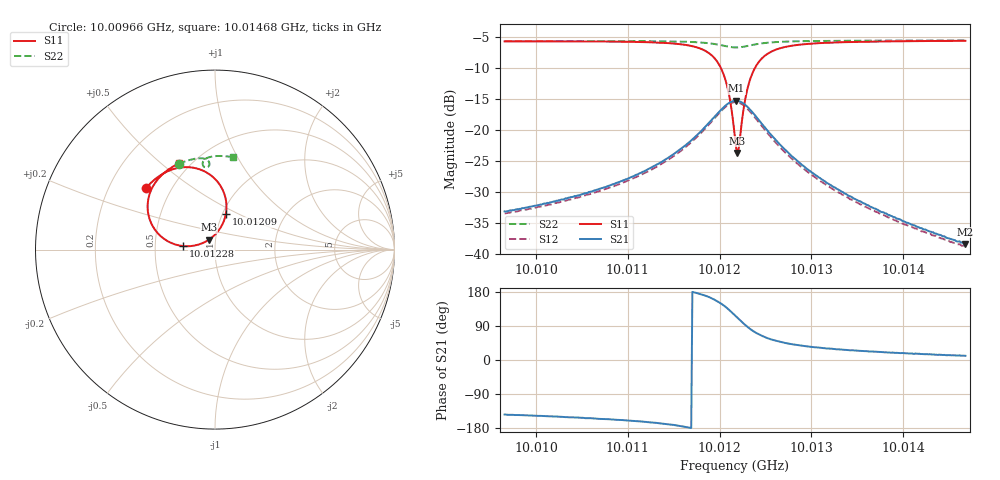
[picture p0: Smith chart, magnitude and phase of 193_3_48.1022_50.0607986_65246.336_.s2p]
#  HZ  S  RI  R  50.00
! Rohde & Schwarz Vector Network Analyzer
! Rohde-Schwarz,ZNB20-2Port,1311601062101988,3.16
! Created: UTC 12/23/2023, 3:54:00 AM
! freq[Hz]  re:S11  im:S11  re:S21  im:S21  re:S12  im:S12  re:S22  im:S22
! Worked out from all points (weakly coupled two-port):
!   401 points, 10.00966 GHz to 10.01468 GHz, reference 50 ohm
!   highest |S21| = -15.34 dB at 10.01218 GHz (marker M1); lowest = -38.4 dB at 10.01468 GHz (marker M2)
!   lowest |S11| = -23.8 dB at 10.01219 GHz (marker M3), VSWR 1.14, Z = 46.5 + j5.22 ohm
!   |S11| at or under -10 dB: 10.01201 GHz to 10.01239 GHz (375.1 kHz wide, 0.00375 % of centre)
!   |S22| runs from -6.7 to -5.6 dB; largest |S21 - S12| = 0.0085
!   S11 on the Smith chart (normalised r, x): 10.00966 GHz: 0.36, +0.34; 10.01209 GHz: 1.04, +0.43; 10.01228 GHz: 0.70, +0.03; 10.01468 GHz: 0.44, +0.58
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1.0009658e10  -0.3837 0.3438  -0.0177 -0.0129  -0.0163 -0.0133  -0.2022 0.4769
1.0010499e10  -0.3285 0.3965  -0.0266 -0.0139  -0.025 -0.0145  -0.1493 0.4967
1.0010964e10  -0.2832 0.4264  -0.0366 -0.014  -0.0345 -0.0153  -0.1178 0.505
1.001134e10  -0.2258 0.4503  -0.0519 -0.0123  -0.0494 -0.0144  -0.0894 0.5089
1.0011642e10  -0.144 0.459  -0.0759 -0.00359  -0.073 -0.00779  -0.0631 0.5076
1.001188e10  -0.0256 0.4159  -0.1092 0.026  -0.107 0.0195  -0.0394 0.4966
1.0012006e10  0.048 0.3209  -0.1233 0.0695  -0.1239 0.0614  -0.0309 0.4809
1.0012094e10  0.0605 0.199  -0.1139 0.1154  -0.1162 0.1075  -0.0336 0.4663
1.0012131e10  0.0405 0.1393  -0.0995 0.1355  -0.1031 0.1278  -0.0385 0.4611
1.0012169e10  0.00187 0.0851  -0.079 0.1517  -0.0828 0.1448  -0.0451 0.458
1.0012181e10  -0.0148 0.0696  -0.071 0.1556  -0.0752 0.149  -0.0474 0.4576
1.0012194e10  -0.0329 0.0559  -0.063 0.1587  -0.0672 0.152  -0.0499 0.4575
1.0012219e10  -0.0729 0.0347  -0.0464 0.1624  -0.0507 0.1562  -0.0548 0.4583
1.0012282e10  -0.1771 0.0196  -0.00578 0.158  -0.0104 0.1526  -0.0645 0.465
1.001232e10  -0.2327 0.0325  0.0142 0.148  0.00891 0.1431  -0.0678 0.4709
1.001237e10  -0.2901 0.0647  0.0329 0.131  0.0268 0.127  -0.0691 0.4793
1.0012483e10  -0.3574 0.1517  0.0507 0.0939  0.045 0.0916  -0.0639 0.4949
1.0012709e10  -0.3728 0.2754  0.049 0.0494  0.0445 0.049  -0.0441 0.5107
1.001301e10  -0.3435 0.3559  0.0371 0.0253  0.0341 0.0259  -0.0186 0.5185
1.0013387e10  -0.3054 0.4065  0.0268 0.0133  0.0249 0.014  0.0103 0.5213
1.0013851e10  -0.2642 0.4425  0.0192 0.00694  0.0178 0.0077  0.0429 0.5211
1.001468e10  -0.2001 0.4807  0.0117 0.0023  0.0111 0.00288  0.0982 0.5149
